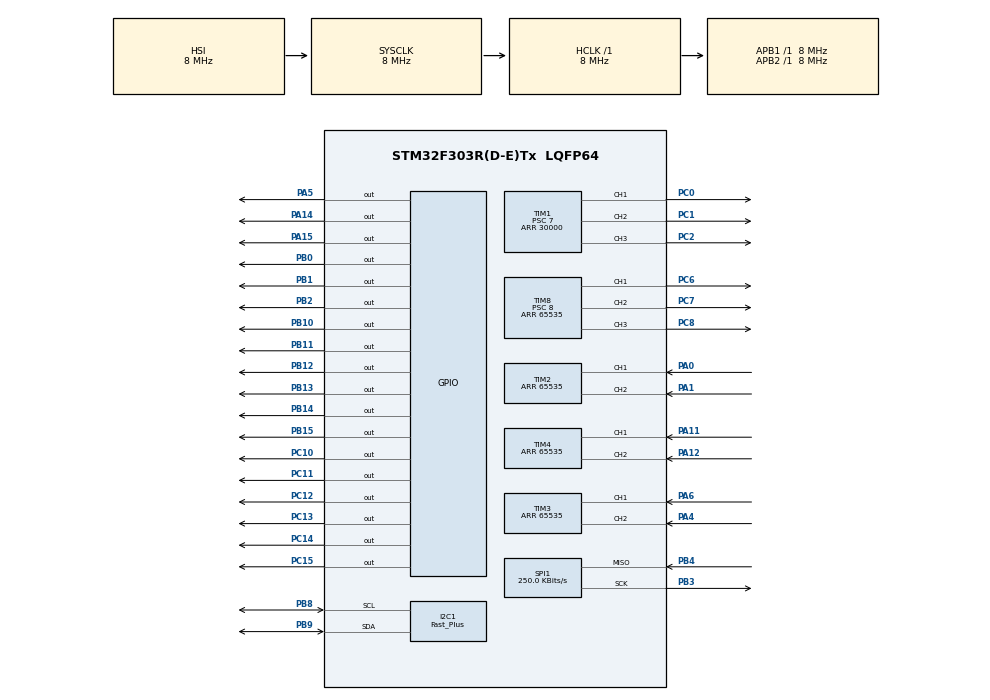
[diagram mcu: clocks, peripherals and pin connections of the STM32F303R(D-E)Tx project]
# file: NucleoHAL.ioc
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I2C1.DualAddressMode=I2C_DUALADDRESS_ENABLE
I2C1.I2C_Speed_Mode=I2C_Fast_Plus
I2C1.OwnAddress=16
I2C1.OwnAddress2=GREEN
I2C1.OwnAddress2Masks=I2C_OA2_MASK04
I2C1.Timing=0x00000001
Mcu.Family=STM32F3
Mcu.Name=STM32F303R(D-E)Tx
Mcu.Package=LQFP64
Mcu.UserConstants=RED,16;ORANGE,32;YELLOW,48;GREEN,16;BLUE,32;PURPLE,48
NVIC.I2C1_ER_IRQn=true\:0\:0\:false\:false\:true\:true\:true
NVIC.I2C1_EV_IRQn=true\:0\:0\:false\:false\:true\:true\:true
NVIC.PriorityGroup=NVIC_PRIORITYGROUP_4
NVIC.TIM6_DAC_IRQn=true\:1\:0\:true\:false\:true\:true\:true
PA0.Signal=S_TIM2_CH1_ETR
PA1.Signal=S_TIM2_CH2
PA11.Signal=S_TIM4_CH1
PA12.Signal=S_TIM4_CH2
PA14.Signal=GPIO_Output
PA15.Signal=GPIO_Output
PA4.Signal=S_TIM3_CH2
PA5.Signal=GPIO_Output
PA6.Signal=S_TIM3_CH1
PB0.Signal=GPIO_Output
PB1.Signal=GPIO_Output
PB10.Signal=GPIO_Output
PB11.Signal=GPIO_Output
PB12.Signal=GPIO_Output
PB13.Signal=GPIO_Output
PB14.Signal=GPIO_Output
PB15.Signal=GPIO_Output
PB2.Signal=GPIO_Output
PB3.Mode=RX_Only_Simplex_Unidirect_Master
PB3.Signal=SPI1_SCK
PB4.Mode=RX_Only_Simplex_Unidirect_Master
PB4.Signal=SPI1_MISO
PB8.Mode=I2C
PB8.Signal=I2C1_SCL
PB9.Mode=I2C
PB9.Signal=I2C1_SDA
PC0.Signal=S_TIM1_CH1
PC1.Signal=S_TIM1_CH2
PC10.Signal=GPIO_Output
PC11.Signal=GPIO_Output
PC12.Signal=GPIO_Output
PC13.Signal=GPIO_Output
PC14-OSC32_IN.Signal=GPIO_Output
PC15-OSC32_OUT.Signal=GPIO_Output
PC2.Signal=S_TIM1_CH3
PC6.Signal=S_TIM8_CH1
PC7.Signal=S_TIM8_CH2
PC8.Signal=S_TIM8_CH3
ProjectManager.HeapSize=0x200
ProjectManager.StackSize=0x400
ProjectManager.TargetToolchain=STM32CubeIDE
RCC.AHBFreq_Value=8000000
RCC.APB1Freq_Value=8000000
RCC.APB2Freq_Value=8000000
RCC.CortexFreq_Value=8000000
RCC.HSE_VALUE=8000000
RCC.HSI_VALUE=8000000
RCC.LSE_VALUE=32768
RCC.SYSCLKFreq_VALUE=8000000
RCC.USBFreq_Value=16000000
SH.S_TIM1_CH1.0=TIM1_CH1,PWM Generation1 CH1
SH.S_TIM1_CH2.0=TIM1_CH2,PWM Generation2 CH2
SH.S_TIM1_CH3.0=TIM1_CH3,PWM Generation3 CH3
SH.S_TIM2_CH1_ETR.0=TIM2_CH1,Encoder_Interface
SH.S_TIM2_CH2.0=TIM2_CH2,Encoder_Interface
SH.S_TIM3_CH1.0=TIM3_CH1,Encoder_Interface
SH.S_TIM3_CH2.0=TIM3_CH2,Encoder_Interface
SH.S_TIM4_CH1.0=TIM4_CH1,Encoder_Interface
SH.S_TIM4_CH2.0=TIM4_CH2,Encoder_Interface
SH.S_TIM8_CH1.0=TIM8_CH1,PWM Generation1 CH1
SH.S_TIM8_CH2.0=TIM8_CH2,PWM Generation2 CH2
SH.S_TIM8_CH3.0=TIM8_CH3,PWM Generation3 CH3
SPI1.BaudRatePrescaler=SPI_BAUDRATEPRESCALER_32
SPI1.CLKPhase=SPI_PHASE_2EDGE
SPI1.CLKPolarity=SPI_POLARITY_HIGH
SPI1.CalculateBaudRate=250.0 KBits/s
SPI1.DataSize=SPI_DATASIZE_16BIT
SPI1.Direction=SPI_DIRECTION_2LINES_RXONLY
SPI1.Mode=SPI_MODE_MASTER
SPI1.VirtualType=VM_MASTER
TIM1.Channel-Forced\ Output1\ CH1N=TIM_CHANNEL_1
TIM1.Channel-PWM\ Generation1\ CH1=TIM_CHANNEL_1
TIM1.Channel-PWM\ Generation2\ CH2=TIM_CHANNEL_2
TIM1.Channel-PWM\ Generation3\ CH3=TIM_CHANNEL_3
TIM1.Period=30000
TIM1.Prescaler=7
TIM2.EncoderMode=TIM_ENCODERMODE_TI12
TIM2.IC1Filter=10
TIM2.IC2Filter=10
TIM2.Period=65535
TIM3.EncoderMode=TIM_ENCODERMODE_TI12
TIM3.IC1Filter=10
TIM3.IC2Filter=10
TIM3.Period=65535
TIM4.EncoderMode=TIM_ENCODERMODE_TI12
TIM4.IC1Filter=0
TIM4.IC2Filter=0
TIM4.Period=65535
TIM6.Period=1000
TIM6.Prescaler=7
TIM8.Channel-PWM\ Generation1\ CH1=TIM_CHANNEL_1
TIM8.Channel-PWM\ Generation2\ CH2=TIM_CHANNEL_2
TIM8.Channel-PWM\ Generation3\ CH3=TIM_CHANNEL_3
TIM8.Period=65535
TIM8.Prescaler=8
VP_TIM1_VS_ClockSourceINT.Mode=Internal
VP_TIM6_VS_ClockSourceINT.Mode=Enable_Timer
VP_TIM8_VS_ClockSourceINT.Mode=Internal
board=custom

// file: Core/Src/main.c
/* USER CODE BEGIN Header */
/**
  ******************************************************************************
  * @file           : main.c
  * @brief          : Main program body
  ******************************************************************************
  * @attention
  *
  * <h2><center>&copy; Copyright (c) 2019 STMicroelectronics.
  * All rights reserved.</center></h2>
  *
  * This software component is licensed by ST under BSD 3-Clause license,
  * the "License"; You may not use this file except in compliance with the
  * License. You may obtain a copy of the License at:
  *                        opensource.org/licenses/BSD-3-Clause
  *
  ******************************************************************************
  */
/* USER CODE END Header */

#include "main.h"

/* USER CODE BEGIN Includes */
#include <string.h>
/* USER CODE END Includes */

/* USER CODE BEGIN PTD */

typedef struct {
	enum {OPEN=0x10, OPEN_PLUS=0x1F, CLOSED=0x20, CLOSED_PLUS=0x2F, CONFIG_PWM=0x30, CONFIG_K=0x3F, QUAD=0x40, ADJUST=0x4F, SPI=0x50, /*LIMIT=0x60,*/ UNKNOWN=0xFF} operation;
	uint8_t channel;
	uint8_t buffer[32];
	uint16_t tick;
} I2CBus;

typedef struct{
	//REGISTERS
	uint8_t controlMode;
	int8_t dir;
	uint16_t openSetpoint;
	int32_t closedSetpoint;
	float FF;
	float KP;
	float KI;
	float KD;

	//uint8_t limit;
	uint16_t spiEnc;
	int32_t quadEnc;

	uint8_t pwmEnable;
	enum uint8_t {SIGN_MAGNITUDE=0x00, LOCK_ANTIPHASE=0x0F}pwmMode;
	uint16_t pwmMin;
	uint16_t pwmMax;
	uint16_t pwmPeriod;

	//INTERNAL
	uint16_t pwmOutput;
	uint16_t quadEncRawNow;
	uint16_t quadEncRawLast;
	float integratedError;
	float lastError;

} Channel;

/* USER CODE END PTD */

/* USER CODE BEGIN PD */

#define DT 0.001
#define THRESHOLD 0.1
//#define ENABLED 0xFF

//#define OPEN 0x00
//#define CLOSED 0xFF

const I2CBus i2cBusDefault = {
	UNKNOWN, //operation
	0xFF, //channel
	{0,0,0,0,0,0,0,0,0,0,0,0,0,0,0,0,0,0,0,0,0,0,0,0,0,0,0,0,0,0,0,0}, //buffer
	0
};

const Channel channelDefault = {
	0x00, //controlMode
	0, //dir
	0, //openSetpoint
	0, //closedSetpoint
	0, //FF
	0, //KP
	0, //KI
	0, //KD
	0, //spiEnc
	0, //quadEnc
	0x00, //pwmEnable
	0x00, //pwmMode
	0, //pwmMin
	0, //pwmMax
	0, //pwmPeriod
	0, //pwmOutput
	0, //quadEncRawNow
	0, //quadEncRawLast
	0, //integratedError
	0 //lastError
};
/* USER CODE END PD */

I2C_HandleTypeDef hi2c1;

SPI_HandleTypeDef hspi1;

TIM_HandleTypeDef htim1;
TIM_HandleTypeDef htim2;
TIM_HandleTypeDef htim3;
TIM_HandleTypeDef htim4;
TIM_HandleTypeDef htim6;
TIM_HandleTypeDef htim8;

/* USER CODE BEGIN PV */
I2CBus i2cBus;

//SPIBus spiBus;

Channel channels[6];
/* USER CODE END PV */

void SystemClock_Config(void);
static void MX_GPIO_Init(void);
static void MX_TIM1_Init(void);
static void MX_TIM2_Init(void);
static void MX_TIM3_Init(void);
static void MX_TIM4_Init(void);
static void MX_I2C1_Init(void);
static void MX_SPI1_Init(void);
static void MX_TIM6_Init(void);
static void MX_TIM8_Init(void);

/* USER CODE BEGIN 0 */

//Returns SPI CS pin based on channel number
uint16_t spiPin(uint8_t channel) {
	switch(channel) {
	case 0: return GPIO_PIN_0;
	case 1: return GPIO_PIN_1;
	case 2: return GPIO_PIN_2;
	}
	return 0;
}

//Updates spiEnc register of a channel
void spiUpdate(uint8_t channel) {
	HAL_GPIO_WritePin(GPIOB, spiPin(channel), GPIO_PIN_RESET); //Pull down appropriate SPI CS
	HAL_SPI_Init(&hspi1); //Enable SPI CLK
	HAL_SPI_Receive(&hspi1,&((channels+channel)->spiEnc),1,72000); //1 16-bit receive
	HAL_SPI_DeInit(&hspi1); //Disable SPI CLK
	HAL_GPIO_WritePin(GPIOB, spiPin(channel), GPIO_PIN_SET); //Release appropriate SPI CS
}

//Returns number of i2c bytes to receive based on i2cBus.operation
uint8_t i2cNumReceive() {
	switch(i2cBus.operation) {
	case OPEN:
	case OPEN_PLUS: return 3;
	case CLOSED:
	case CLOSED_PLUS: return 8;
	case CONFIG_PWM: return 7;
	case CONFIG_K: return 12;
	case QUAD: return 0;
	case ADJUST: return 4;
	case SPI:
	//case LIMIT:
	case UNKNOWN: return 0;
	}
	return 0;
}

//Returns number of i2c bytes to send based on i2cBus.operation
uint8_t i2cNumSend() {
	switch(i2cBus.operation) {
	case OPEN: return 0;
	case OPEN_PLUS: return 4;
	case CLOSED:return 0;
	case CLOSED_PLUS: return 4;
	case CONFIG_PWM:
	case CONFIG_K: return 0;
	case QUAD: return 4;
	case ADJUST: return 0;
	case SPI: return 2;
	//case LIMIT: return 1;
	case UNKNOWN: return 0;
	}
	return 0;
}

//Prepares i2c data to send in i2cBus.buffer, using i2cBus.operation and i2cBus.channel
void i2cPrepareSend() {
	if (i2cBus.channel > 6) {return;}
	Channel *channel = channels + i2cBus.channel;
	switch(i2cBus.operation) {
	case OPEN:
		return;
	case OPEN_PLUS:
		memcpy(i2cBus.buffer, &(channel->quadEnc), 4)
		return;
	case CLOSED:
		return;
	case CLOSED_PLUS:
		memcpy(i2cBus.buffer, &(channel->quadEnc), 4);
		return;
	case CONFIG_PWM:
	case CONFIG_K:
		return;
	case QUAD:
		memcpy(i2cBus.buffer, &(channel->quadEnc), 4);
		return;
	case ADJUST:
		return;
	case SPI:
		spiUpdate(i2cBus.channel);
		memcpy(i2cBus.buffer, &(channel->spiEnc), 2);
		return;
	//case LIMIT: memcpy(i2cBus.buffer, &(channel->limit), 1); return;
	case UNKNOWN:
		return;
	}
}

//Processes i2c data received in i2cBus.buffer, using i2cBus.operation and i2cBus.channel
void i2cProcessReceive() {
	if (i2cBus.channel > 6) {return;}
	Channel *channel = channels + i2cBus.channel;
	switch(i2cBus.operation) {
	case OPEN:
	case OPEN_PLUS:
		channel->pwmEnable = 0xFF;
		channel->controlMode = 0x00;
		memcpy(&(channel->dir), i2cBus.buffer, 1);
		memcpy(&(channel->openSetpoint), i2cBus.buffer+1, 2);
		return;
	case CLOSED:
	case CLOSED_PLUS:
		channel->pwmEnable = 0xFF;
		channel->controlMode = 0xFF;
		memcpy(&(channel->FF), i2cBus.buffer, 4);
		memcpy(&(channel->closedSetpoint),i2cBus.buffer+4,4);
		return;
	case CONFIG_PWM:
		memcpy(&(channel->pwmMode),i2cBus.buffer,1);
		memcpy(&(channel->pwmMin),i2cBus.buffer+1,2);
		memcpy(&(channel->pwmMax),i2cBus.buffer+3,2);
		memcpy(&(channel->pwmPeriod),i2cBus.buffer+5,2);
		return;
	case CONFIG_K:
		memcpy(&(channel->KP),i2cBus.buffer,4);
		memcpy(&(channel->KI),i2cBus.buffer+4,4);
		memcpy(&(channel->KD),i2cBus.buffer+8,4);
		return;
	case QUAD:
		return;
	case ADJUST:
		memcpy(&(channel->quadEnc), i2cBus.buffer, 4);
	case SPI:
	//case LIMIT:
	case UNKNOWN:
		return;
	}
}

//Restarts the i2c hardware. Disables pwm signals
void i2cReset() {
	HAL_I2C_DeInit(&hi2c1);
	i2cBus.operation = UNKNOWN;
	channels[0].pwmEnable = 0x00;
	channels[1].pwmEnable = 0x00;
	channels[2].pwmEnable = 0x00;
	channels[3].pwmEnable = 0x00;
	channels[4].pwmEnable = 0x00;
	channels[5].pwmEnable = 0x00;
	HAL_I2C_Init(&hi2c1);
	HAL_I2C_EnableListen_IT(&hi2c1);
}

//Calls i2cReset() when i2cBus.tick goes over 1000
void updateI2C() {
	i2cBus.tick += 1;
	if (i2cBus.tick >= 1000) {
		i2cBus.tick = 0;
		i2cReset();
	}
}

//Updates channel.quadEnc for channels 0, 1, 2
void updateQuadEnc() {
	channels[0].quadEncRawNow = TIM2->CNT;
	channels[1].quadEncRawNow = TIM3->CNT;
	channels[2].quadEncRawNow = TIM4->CNT;

	for (int i = 0; i < 3; i++){
		Channel *channel = channels + i;
		int32_t diff = ((int32_t)channel->quadEncRawNow) - ((int32_t)channel->quadEncRawLast);
		if (diff < -32768) { //OVERFLOW
			channel->quadEnc += (65535 + diff);
		}
		else if (diff > 32768){ //UNDERFLOW
			channel->quadEnc -= (65535 - diff);
		}
		else { //NORMAL
			channel->quadEnc += diff;
		}
		channel->quadEncRawLast = channel->quadEncRawNow;
	}
}

//Updates channel.limit for all channels
/*void updateLimit() {
	channels[0].limit = (HAL_GPIO_ReadPin(GPIOA, GPIO_PIN_2) == GPIO_PIN_RESET) ? 0xFF : 0x00;
	channels[1].limit = (HAL_GPIO_ReadPin(GPIOA, GPIO_PIN_3) == GPIO_PIN_RESET) ? 0xFF : 0x00;
	channels[2].limit = (HAL_GPIO_ReadPin(GPIOA, GPIO_PIN_7) == GPIO_PIN_RESET) ? 0xFF : 0x00;
	channels[3].limit = (HAL_GPIO_ReadPin(GPIOA, GPIO_PIN_8) == GPIO_PIN_RESET) ? 0xFF : 0x00;
	channels[4].limit = (HAL_GPIO_ReadPin(GPIOA, GPIO_PIN_9) == GPIO_PIN_RESET) ? 0xFF : 0x00;
	channels[5].limit = (HAL_GPIO_ReadPin(GPIOA, GPIO_PIN_10) == GPIO_PIN_RESET) ? 0xFF : 0x00;
}*/

//Updates channel.pwmOutput for all channels
void updateLogic() {
	for (uint8_t i = 0; i < 6; i++){
		Channel *channel = channels + i;
		float output;

		if (channel->controlMode == 0xFF){ //CLOSED LOOP
			float error = (float)(channel->closedSetpoint - channel->quadEnc);
			float integratedError = channel->integratedError + (error * DT);
			float derivativeError = (error - channel->lastError) / DT;

			channel->integratedError = integratedError;
			channel->lastError = error;

			output = ((channel->KP * error) + (channel->KI * integratedError) + (channel->KD * derivativeError) + channel->FF);
			output = output < 1.0 ? output : 1.0;
			output = output > -1.0 ? output : -1.0;

			if (channel->pwmMode == SIGN_MAGNITUDE){ //SIGN MAGNITUDE
				if (output > THRESHOLD) {
					channel->pwmOutput = (uint16_t)(((channel->pwmMax - channel->pwmMin) * (output)) + channel->pwmMin);
					channel->dir = 0x00;
				}
				else if (output < -THRESHOLD){
					channel->pwmOutput = (uint16_t)(((channel->pwmMax - channel->pwmMin) * (-1.0 * output)) + channel->pwmMin);
					channel->dir = 0xFF;
				}
				else { //OUTPUT NOT ABOVE THRESHOLD
					channel->pwmOutput = 0;
				}
			}
			else if (channel->pwmMode == LOCK_ANTIPHASE) { //LOCK ANTIPHASE
				if (output > THRESHOLD  || output < -THRESHOLD) {
					channel->pwmOutput = (uint16_t)(((channel->pwmMax - channel->pwmMin) * ((output + 1.0) / 2.0)) + channel->pwmMin);
				}
				else { //OUTPUT NOT ABOVE THRESHOLD
					channel->pwmOutput = (uint16_t)(((channel->pwmMax - channel->pwmMin) * 0.5) + channel->pwmMin);
				}
			}
		}
		else { //OPEN LOOP
			channel->pwmOutput = channel->openSetpoint;
		}

	}
}

//Updates the pwm interface CCR and ARR based on pwmPeriod and pwmOutput for all channels
//Updates the GPIO dir pin base on dir for all channels
void updatePWM() {
	for (uint8_t i = 0; i < 6; i++) {
		Channel *channel = channels + i;
		if (/*channel->limit == 0xFF ||*/ channel->pwmEnable != 0xFF){
			channel->pwmOutput = 0;
		}
	}

	uint16_t period;

	period = 0;
	period = (period > channels[0].pwmPeriod) ? period : channels[0].pwmPeriod;
	period = (period > channels[1].pwmPeriod) ? period : channels[1].pwmPeriod;
	period = (period > channels[2].pwmPeriod) ? period : channels[2].pwmPeriod;
	TIM1->ARR = period;
	period = 0;
	period = (period > channels[3].pwmPeriod) ? period : channels[3].pwmPeriod;
	period = (period > channels[4].pwmPeriod) ? period : channels[4].pwmPeriod;
	period = (period > channels[5].pwmPeriod) ? period : channels[5].pwmPeriod;
	TIM8->ARR = period;

	TIM1->CCR1 = channels[0].pwmOutput;
	TIM1->CCR2 = channels[1].pwmOutput;
	TIM1->CCR3 = channels[2].pwmOutput;
	TIM8->CCR1 = channels[3].pwmOutput;
	TIM8->CCR2 = channels[4].pwmOutput;
	TIM8->CCR3 = channels[5].pwmOutput;

	HAL_GPIO_WritePin(GPIOC, GPIO_PIN_10, channels[0].dir);
	HAL_GPIO_WritePin(GPIOC, GPIO_PIN_11, channels[1].dir);
	HAL_GPIO_WritePin(GPIOC, GPIO_PIN_12, channels[2].dir);
	HAL_GPIO_WritePin(GPIOC, GPIO_PIN_13, channels[3].dir);
	HAL_GPIO_WritePin(GPIOC, GPIO_PIN_14, channels[4].dir);
	HAL_GPIO_WritePin(GPIOC, GPIO_PIN_15, channels[5].dir);

	HAL_GPIO_WritePin(GPIOB, GPIO_PIN_10, !channels[0].dir);
	HAL_GPIO_WritePin(GPIOB, GPIO_PIN_11, !channels[1].dir);
	HAL_GPIO_WritePin(GPIOB, GPIO_PIN_12, !channels[2].dir);
	HAL_GPIO_WritePin(GPIOB, GPIO_PIN_13, !channels[3].dir);
	HAL_GPIO_WritePin(GPIOB, GPIO_PIN_14, !channels[4].dir);
	HAL_GPIO_WritePin(GPIOB, GPIO_PIN_15, !channels[5].dir);
}

//Callback when i2c address of any channel is noticed
void HAL_I2C_AddrCallback(I2C_HandleTypeDef * hi2c, uint8_t TransferDirection, uint16_t AddrMatchCode){
	i2cBus.channel = (0x000F & (AddrMatchCode >> 1));
	if (TransferDirection == I2C_DIRECTION_TRANSMIT){
		HAL_I2C_Slave_Seq_Receive_IT(&hi2c1, i2cBus.buffer, 1, I2C_LAST_FRAME); //Receive command byte
		i2cBus.operation = UNKNOWN;
	}
	else { //Send data based on command byte
		i2cPrepareSend();
		if (i2cNumSend() != 0) {
			HAL_I2C_Slave_Seq_Transmit_IT(&hi2c1, i2cBus.buffer, i2cNumSend(), I2C_LAST_FRAME);
		}
	}
	i2cBus.tick = 0; //Reset i2cBus.tick
}

//Callback when i2c receive is complete
void HAL_I2C_SlaveRxCpltCallback(I2C_HandleTypeDef * hi2c) {
	if (i2cBus.operation == UNKNOWN) {//Expected a command byte
		i2cBus.operation = i2cBus.buffer[0];
		if (i2cNumReceive() != 0) {//Receive data bytes
			HAL_I2C_Slave_Seq_Receive_IT(&hi2c1, i2cBus.buffer, i2cNumReceive(), I2C_LAST_FRAME);
		}
		else {//Don't receive data bytes
			i2cProcessReceive();
		}
	}
	else {//Expected data bytes
		i2cProcessReceive();
	}
}

//Callback when i2c transaction is complete
void HAL_I2C_ListenCpltCallback(I2C_HandleTypeDef * hi2c) {
	HAL_I2C_EnableListen_IT(&hi2c1);
}

//Callback when i2c interface detects an error
void HAL_I2C_ErrorCallback(I2C_HandleTypeDef * hi2c){
	i2cReset();
}

//Timer to trigger other functions
void HAL_TIM_PeriodElapsedCallback(TIM_HandleTypeDef * htim){
	if (htim == &htim6) {
		HAL_GPIO_WritePin(GPIOA, GPIO_PIN_5, GPIO_PIN_SET);
		updateQuadEnc();
		//updateLimit();
		updateLogic();
		updatePWM();
		updateI2C();
		HAL_GPIO_WritePin(GPIOA, GPIO_PIN_5, GPIO_PIN_RESET);
	}
}

/* USER CODE END 0 */

int main(void)
{

  /* MCU Configuration--------------------------------------------------------*/

  /* Reset of all peripherals, Initializes the Flash interface and the Systick. */
  HAL_Init();

  /* USER CODE BEGIN Init */
  channels[0] = channelDefault;
  channels[1] = channelDefault;
  channels[2] = channelDefault;
  channels[3] = channelDefault;
  channels[4] = channelDefault;
  channels[5] = channelDefault;

  i2cBus = i2cBusDefault;
  /* USER CODE END Init */

  /* Configure the system clock */
  SystemClock_Config();

  /* Initialize all configured peripherals */
  MX_GPIO_Init();
  MX_TIM1_Init();
  MX_TIM2_Init();
  MX_TIM3_Init();
  MX_TIM4_Init();
  MX_I2C1_Init();
  MX_SPI1_Init();
  MX_TIM6_Init();
  MX_TIM8_Init();
  /* USER CODE BEGIN 2 */

  HAL_SPI_DeInit(&hspi1);

  HAL_I2C_EnableListen_IT(&hi2c1);

  HAL_TIM_PWM_Start(&htim1, TIM_CHANNEL_1);
  HAL_TIM_PWM_Start(&htim1, TIM_CHANNEL_2);
  HAL_TIM_PWM_Start(&htim1, TIM_CHANNEL_3);
  HAL_TIM_PWM_Start(&htim8, TIM_CHANNEL_1);
  HAL_TIM_PWM_Start(&htim8, TIM_CHANNEL_2);
  HAL_TIM_PWM_Start(&htim8, TIM_CHANNEL_3);
  HAL_TIM_Encoder_Start(&htim2, TIM_CHANNEL_ALL);
  HAL_TIM_Encoder_Start(&htim3, TIM_CHANNEL_ALL);
  HAL_TIM_Encoder_Start(&htim4, TIM_CHANNEL_ALL);

  HAL_TIM_Base_Start_IT(&htim6);

  /* USER CODE END 2 */

  /* Infinite loop */
  /* USER CODE BEGIN WHILE */
  while (1)
  {
	  //HAL_Delay(1000);
    /* USER CODE END WHILE */

  }
}

void SystemClock_Config(void)
{
  RCC_OscInitTypeDef RCC_OscInitStruct = {0};
  RCC_ClkInitTypeDef RCC_ClkInitStruct = {0};
  RCC_PeriphCLKInitTypeDef PeriphClkInit = {0};

  /** Initializes the CPU, AHB and APB busses clocks
  */
  RCC_OscInitStruct.OscillatorType = RCC_OSCILLATORTYPE_HSI;
  RCC_OscInitStruct.HSIState = RCC_HSI_ON;
  RCC_OscInitStruct.HSICalibrationValue = RCC_HSICALIBRATION_DEFAULT;
  RCC_OscInitStruct.PLL.PLLState = RCC_PLL_NONE;
  if (HAL_RCC_OscConfig(&RCC_OscInitStruct) != HAL_OK)
  {
    Error_Handler();
  }
  /** Initializes the CPU, AHB and APB busses clocks
  */
  RCC_ClkInitStruct.ClockType = RCC_CLOCKTYPE_HCLK|RCC_CLOCKTYPE_SYSCLK
                              |RCC_CLOCKTYPE_PCLK1|RCC_CLOCKTYPE_PCLK2;
  RCC_ClkInitStruct.SYSCLKSource = RCC_SYSCLKSOURCE_HSI;
  RCC_ClkInitStruct.AHBCLKDivider = RCC_SYSCLK_DIV1;
  RCC_ClkInitStruct.APB1CLKDivider = RCC_HCLK_DIV1;
  RCC_ClkInitStruct.APB2CLKDivider = RCC_HCLK_DIV1;

  if (HAL_RCC_ClockConfig(&RCC_ClkInitStruct, FLASH_LATENCY_0) != HAL_OK)
  {
    Error_Handler();
  }
  PeriphClkInit.PeriphClockSelection = RCC_PERIPHCLK_I2C1|RCC_PERIPHCLK_TIM1
                              |RCC_PERIPHCLK_TIM8|RCC_PERIPHCLK_TIM2
                              |RCC_PERIPHCLK_TIM34;
  PeriphClkInit.I2c1ClockSelection = RCC_I2C1CLKSOURCE_HSI;
  PeriphClkInit.Tim1ClockSelection = RCC_TIM1CLK_HCLK;
  PeriphClkInit.Tim8ClockSelection = RCC_TIM8CLK_HCLK;
  PeriphClkInit.Tim2ClockSelection = RCC_TIM2CLK_HCLK;
  PeriphClkInit.Tim34ClockSelection = RCC_TIM34CLK_HCLK;
  if (HAL_RCCEx_PeriphCLKConfig(&PeriphClkInit) != HAL_OK)
  {
    Error_Handler();
  }
}

static void MX_I2C1_Init(void)
{

  hi2c1.Instance = I2C1;
  hi2c1.Init.Timing = 0x00000001;
  hi2c1.Init.OwnAddress1 = 32;
  hi2c1.Init.AddressingMode = I2C_ADDRESSINGMODE_7BIT;
  hi2c1.Init.DualAddressMode = I2C_DUALADDRESS_ENABLE;
  hi2c1.Init.OwnAddress2 = 32;
  hi2c1.Init.OwnAddress2Masks = I2C_OA2_MASK04;
  hi2c1.Init.GeneralCallMode = I2C_GENERALCALL_DISABLE;
  hi2c1.Init.NoStretchMode = I2C_NOSTRETCH_DISABLE;
  if (HAL_I2C_Init(&hi2c1) != HAL_OK)
  {
    Error_Handler();
  }
  /** Configure Analogue filter
  */
  if (HAL_I2CEx_ConfigAnalogFilter(&hi2c1, I2C_ANALOGFILTER_ENABLE) != HAL_OK)
  {
    Error_Handler();
  }
  /** Configure Digital filter
  */
  if (HAL_I2CEx_ConfigDigitalFilter(&hi2c1, 0) != HAL_OK)
  {
    Error_Handler();
  }
  /** I2C Fast mode Plus enable
  */
  __HAL_SYSCFG_FASTMODEPLUS_ENABLE(I2C_FASTMODEPLUS_I2C1);

}

static void MX_SPI1_Init(void)
{

  /* SPI1 parameter configuration*/
  hspi1.Instance = SPI1;
  hspi1.Init.Mode = SPI_MODE_MASTER;
  hspi1.Init.Direction = SPI_DIRECTION_2LINES_RXONLY;
  hspi1.Init.DataSize = SPI_DATASIZE_16BIT;
  hspi1.Init.CLKPolarity = SPI_POLARITY_HIGH;
  hspi1.Init.CLKPhase = SPI_PHASE_2EDGE;
  hspi1.Init.NSS = SPI_NSS_SOFT;
  hspi1.Init.BaudRatePrescaler = SPI_BAUDRATEPRESCALER_32;
  hspi1.Init.FirstBit = SPI_FIRSTBIT_MSB;
  hspi1.Init.TIMode = SPI_TIMODE_DISABLE;
  hspi1.Init.CRCCalculation = SPI_CRCCALCULATION_DISABLE;
  hspi1.Init.CRCPolynomial = 7;
  hspi1.Init.CRCLength = SPI_CRC_LENGTH_DATASIZE;
  hspi1.Init.NSSPMode = SPI_NSS_PULSE_DISABLE;
  if (HAL_SPI_Init(&hspi1) != HAL_OK)
  {
    Error_Handler();
  }

}

static void MX_TIM1_Init(void)
{

  TIM_ClockConfigTypeDef sClockSourceConfig = {0};
  TIM_MasterConfigTypeDef sMasterConfig = {0};
  TIM_OC_InitTypeDef sConfigOC = {0};
  TIM_BreakDeadTimeConfigTypeDef sBreakDeadTimeConfig = {0};

  htim1.Instance = TIM1;
  htim1.Init.Prescaler = 7;
  htim1.Init.CounterMode = TIM_COUNTERMODE_UP;
  htim1.Init.Period = 30000;
  htim1.Init.ClockDivision = TIM_CLOCKDIVISION_DIV1;
  htim1.Init.RepetitionCounter = 0;
  htim1.Init.AutoReloadPreload = TIM_AUTORELOAD_PRELOAD_DISABLE;
  if (HAL_TIM_Base_Init(&htim1) != HAL_OK)
  {
    Error_Handler();
  }
  sClockSourceConfig.ClockSource = TIM_CLOCKSOURCE_INTERNAL;
  if (HAL_TIM_ConfigClockSource(&htim1, &sClockSourceConfig) != HAL_OK)
  {
    Error_Handler();
  }
  if (HAL_TIM_PWM_Init(&htim1) != HAL_OK)
  {
    Error_Handler();
  }
  sMasterConfig.MasterOutputTrigger = TIM_TRGO_RESET;
  sMasterConfig.MasterOutputTrigger2 = TIM_TRGO2_RESET;
  sMasterConfig.MasterSlaveMode = TIM_MASTERSLAVEMODE_DISABLE;
  if (HAL_TIMEx_MasterConfigSynchronization(&htim1, &sMasterConfig) != HAL_OK)
  {
    Error_Handler();
  }
  sConfigOC.OCMode = TIM_OCMODE_PWM1;
  sConfigOC.Pulse = 0;
  sConfigOC.OCPolarity = TIM_OCPOLARITY_HIGH;
  sConfigOC.OCNPolarity = TIM_OCNPOLARITY_HIGH;
  sConfigOC.OCFastMode = TIM_OCFAST_DISABLE;
  sConfigOC.OCIdleState = TIM_OCIDLESTATE_RESET;
  sConfigOC.OCNIdleState = TIM_OCNIDLESTATE_RESET;
  if (HAL_TIM_PWM_ConfigChannel(&htim1, &sConfigOC, TIM_CHANNEL_1) != HAL_OK)
  {
    Error_Handler();
  }
  if (HAL_TIM_PWM_ConfigChannel(&htim1, &sConfigOC, TIM_CHANNEL_2) != HAL_OK)
  {
    Error_Handler();
  }
  if (HAL_TIM_PWM_ConfigChannel(&htim1, &sConfigOC, TIM_CHANNEL_3) != HAL_OK)
  {
    Error_Handler();
  }
  sBreakDeadTimeConfig.OffStateRunMode = TIM_OSSR_DISABLE;
  sBreakDeadTimeConfig.OffStateIDLEMode = TIM_OSSI_DISABLE;
  sBreakDeadTimeConfig.LockLevel = TIM_LOCKLEVEL_OFF;
  sBreakDeadTimeConfig.DeadTime = 0;
  sBreakDeadTimeConfig.BreakState = TIM_BREAK_DISABLE;
  sBreakDeadTimeConfig.BreakPolarity = TIM_BREAKPOLARITY_HIGH;
  sBreakDeadTimeConfig.BreakFilter = 0;
  sBreakDeadTimeConfig.Break2State = TIM_BREAK2_DISABLE;
  sBreakDeadTimeConfig.Break2Polarity = TIM_BREAK2POLARITY_HIGH;
  sBreakDeadTimeConfig.Break2Filter = 0;
  sBreakDeadTimeConfig.AutomaticOutput = TIM_AUTOMATICOUTPUT_DISABLE;
  if (HAL_TIMEx_ConfigBreakDeadTime(&htim1, &sBreakDeadTimeConfig) != HAL_OK)
  {
    Error_Handler();
  }
  HAL_TIM_MspPostInit(&htim1);

}

static void MX_TIM2_Init(void)
{

  TIM_Encoder_InitTypeDef sConfig = {0};
  TIM_MasterConfigTypeDef sMasterConfig = {0};

  htim2.Instance = TIM2;
  htim2.Init.Prescaler = 0;
  htim2.Init.CounterMode = TIM_COUNTERMODE_UP;
  htim2.Init.Period = 65535;
  htim2.Init.ClockDivision = TIM_CLOCKDIVISION_DIV1;
  htim2.Init.AutoReloadPreload = TIM_AUTORELOAD_PRELOAD_DISABLE;
  sConfig.EncoderMode = TIM_ENCODERMODE_TI12;
  sConfig.IC1Polarity = TIM_ICPOLARITY_RISING;
  sConfig.IC1Selection = TIM_ICSELECTION_DIRECTTI;
  sConfig.IC1Prescaler = TIM_ICPSC_DIV1;
  sConfig.IC1Filter = 10;
  sConfig.IC2Polarity = TIM_ICPOLARITY_RISING;
  sConfig.IC2Selection = TIM_ICSELECTION_DIRECTTI;
  sConfig.IC2Prescaler = TIM_ICPSC_DIV1;
  sConfig.IC2Filter = 10;
  if (HAL_TIM_Encoder_Init(&htim2, &sConfig) != HAL_OK)
  {
    Error_Handler();
  }
  sMasterConfig.MasterOutputTrigger = TIM_TRGO_RESET;
  sMasterConfig.MasterSlaveMode = TIM_MASTERSLAVEMODE_DISABLE;
  if (HAL_TIMEx_MasterConfigSynchronization(&htim2, &sMasterConfig) != HAL_OK)
  {
    Error_Handler();
  }

}

static void MX_TIM3_Init(void)
{

  TIM_Encoder_InitTypeDef sConfig = {0};
  TIM_MasterConfigTypeDef sMasterConfig = {0};

  htim3.Instance = TIM3;
  htim3.Init.Prescaler = 0;
  htim3.Init.CounterMode = TIM_COUNTERMODE_UP;
  htim3.Init.Period = 65535;
  htim3.Init.ClockDivision = TIM_CLOCKDIVISION_DIV1;
  htim3.Init.AutoReloadPreload = TIM_AUTORELOAD_PRELOAD_DISABLE;
  sConfig.EncoderMode = TIM_ENCODERMODE_TI12;
  sConfig.IC1Polarity = TIM_ICPOLARITY_RISING;
  sConfig.IC1Selection = TIM_ICSELECTION_DIRECTTI;
  sConfig.IC1Prescaler = TIM_ICPSC_DIV1;
  sConfig.IC1Filter = 10;
  sConfig.IC2Polarity = TIM_ICPOLARITY_RISING;
  sConfig.IC2Selection = TIM_ICSELECTION_DIRECTTI;
  sConfig.IC2Prescaler = TIM_ICPSC_DIV1;
  sConfig.IC2Filter = 10;
  if (HAL_TIM_Encoder_Init(&htim3, &sConfig) != HAL_OK)
  {
    Error_Handler();
  }
  sMasterConfig.MasterOutputTrigger = TIM_TRGO_RESET;
  sMasterConfig.MasterSlaveMode = TIM_MASTERSLAVEMODE_DISABLE;
  if (HAL_TIMEx_MasterConfigSynchronization(&htim3, &sMasterConfig) != HAL_OK)
  {
    Error_Handler();
  }

}

static void MX_TIM4_Init(void)
{

  TIM_Encoder_InitTypeDef sConfig = {0};
  TIM_MasterConfigTypeDef sMasterConfig = {0};

  htim4.Instance = TIM4;
  htim4.Init.Prescaler = 0;
  htim4.Init.CounterMode = TIM_COUNTERMODE_UP;
  htim4.Init.Period = 65535;
  htim4.Init.ClockDivision = TIM_CLOCKDIVISION_DIV1;
  htim4.Init.AutoReloadPreload = TIM_AUTORELOAD_PRELOAD_DISABLE;
  sConfig.EncoderMode = TIM_ENCODERMODE_TI12;
  sConfig.IC1Polarity = TIM_ICPOLARITY_RISING;
  sConfig.IC1Selection = TIM_ICSELECTION_DIRECTTI;
  sConfig.IC1Prescaler = TIM_ICPSC_DIV1;
  sConfig.IC1Filter = 0;
  sConfig.IC2Polarity = TIM_ICPOLARITY_RISING;
  sConfig.IC2Selection = TIM_ICSELECTION_DIRECTTI;
  sConfig.IC2Prescaler = TIM_ICPSC_DIV1;
  sConfig.IC2Filter = 0;
  if (HAL_TIM_Encoder_Init(&htim4, &sConfig) != HAL_OK)
  {
    Error_Handler();
  }
  sMasterConfig.MasterOutputTrigger = TIM_TRGO_RESET;
  sMasterConfig.MasterSlaveMode = TIM_MASTERSLAVEMODE_DISABLE;
  if (HAL_TIMEx_MasterConfigSynchronization(&htim4, &sMasterConfig) != HAL_OK)
  {
    Error_Handler();
  }

}

static void MX_TIM6_Init(void)
{

  TIM_MasterConfigTypeDef sMasterConfig = {0};

  htim6.Instance = TIM6;
  htim6.Init.Prescaler = 7;
  htim6.Init.CounterMode = TIM_COUNTERMODE_UP;
  htim6.Init.Period = 1000;
  htim6.Init.AutoReloadPreload = TIM_AUTORELOAD_PRELOAD_DISABLE;
  if (HAL_TIM_Base_Init(&htim6) != HAL_OK)
  {
    Error_Handler();
  }
  sMasterConfig.MasterOutputTrigger = TIM_TRGO_RESET;
  sMasterConfig.MasterSlaveMode = TIM_MASTERSLAVEMODE_DISABLE;
  if (HAL_TIMEx_MasterConfigSynchronization(&htim6, &sMasterConfig) != HAL_OK)
  {
    Error_Handler();
  }

}

static void MX_TIM8_Init(void)
{

  TIM_ClockConfigTypeDef sClockSourceConfig = {0};
  TIM_MasterConfigTypeDef sMasterConfig = {0};
  TIM_OC_InitTypeDef sConfigOC = {0};
  TIM_BreakDeadTimeConfigTypeDef sBreakDeadTimeConfig = {0};

  htim8.Instance = TIM8;
  htim8.Init.Prescaler = 8;
  htim8.Init.CounterMode = TIM_COUNTERMODE_UP;
  htim8.Init.Period = 65535;
  htim8.Init.ClockDivision = TIM_CLOCKDIVISION_DIV1;
  htim8.Init.RepetitionCounter = 0;
  htim8.Init.AutoReloadPreload = TIM_AUTORELOAD_PRELOAD_DISABLE;
  if (HAL_TIM_Base_Init(&htim8) != HAL_OK)
  {
    Error_Handler();
  }
  sClockSourceConfig.ClockSource = TIM_CLOCKSOURCE_INTERNAL;
  if (HAL_TIM_ConfigClockSource(&htim8, &sClockSourceConfig) != HAL_OK)
  {
    Error_Handler();
  }
  if (HAL_TIM_PWM_Init(&htim8) != HAL_OK)
  {
    Error_Handler();
  }
  sMasterConfig.MasterOutputTrigger = TIM_TRGO_RESET;
  sMasterConfig.MasterOutputTrigger2 = TIM_TRGO2_RESET;
  sMasterConfig.MasterSlaveMode = TIM_MASTERSLAVEMODE_DISABLE;
  if (HAL_TIMEx_MasterConfigSynchronization(&htim8, &sMasterConfig) != HAL_OK)
  {
    Error_Handler();
  }
  sConfigOC.OCMode = TIM_OCMODE_PWM1;
  sConfigOC.Pulse = 0;
  sConfigOC.OCPolarity = TIM_OCPOLARITY_HIGH;
  sConfigOC.OCNPolarity = TIM_OCNPOLARITY_HIGH;
  sConfigOC.OCFastMode = TIM_OCFAST_DISABLE;
  sConfigOC.OCIdleState = TIM_OCIDLESTATE_RESET;
  sConfigOC.OCNIdleState = TIM_OCNIDLESTATE_RESET;
  if (HAL_TIM_PWM_ConfigChannel(&htim8, &sConfigOC, TIM_CHANNEL_1) != HAL_OK)
  {
    Error_Handler();
  }
  if (HAL_TIM_PWM_ConfigChannel(&htim8, &sConfigOC, TIM_CHANNEL_2) != HAL_OK)
  {
    Error_Handler();
  }
  if (HAL_TIM_PWM_ConfigChannel(&htim8, &sConfigOC, TIM_CHANNEL_3) != HAL_OK)
  {
    Error_Handler();
  }
  sBreakDeadTimeConfig.OffStateRunMode = TIM_OSSR_DISABLE;
  sBreakDeadTimeConfig.OffStateIDLEMode = TIM_OSSI_DISABLE;
  sBreakDeadTimeConfig.LockLevel = TIM_LOCKLEVEL_OFF;
  sBreakDeadTimeConfig.DeadTime = 0;
  sBreakDeadTimeConfig.BreakState = TIM_BREAK_DISABLE;
  sBreakDeadTimeConfig.BreakPolarity = TIM_BREAKPOLARITY_HIGH;
  sBreakDeadTimeConfig.BreakFilter = 0;
  sBreakDeadTimeConfig.Break2State = TIM_BREAK2_DISABLE;
  sBreakDeadTimeConfig.Break2Polarity = TIM_BREAK2POLARITY_HIGH;
  sBreakDeadTimeConfig.Break2Filter = 0;
  sBreakDeadTimeConfig.AutomaticOutput = TIM_AUTOMATICOUTPUT_DISABLE;
  if (HAL_TIMEx_ConfigBreakDeadTime(&htim8, &sBreakDeadTimeConfig) != HAL_OK)
  {
    Error_Handler();
  }
  HAL_TIM_MspPostInit(&htim8);

}

static void MX_GPIO_Init(void)
{
  GPIO_InitTypeDef GPIO_InitStruct = {0};

  /* GPIO Ports Clock Enable */
  __HAL_RCC_GPIOC_CLK_ENABLE();
  __HAL_RCC_GPIOA_CLK_ENABLE();
  __HAL_RCC_GPIOB_CLK_ENABLE();

  /*Configure GPIO pin Output Level */
  HAL_GPIO_WritePin(GPIOC, GPIO_PIN_13|GPIO_PIN_14|GPIO_PIN_15|GPIO_PIN_10
                          |GPIO_PIN_11|GPIO_PIN_12, GPIO_PIN_RESET);

  /*Configure GPIO pin Output Level */
  HAL_GPIO_WritePin(GPIOA, GPIO_PIN_5|GPIO_PIN_14|GPIO_PIN_15, GPIO_PIN_RESET);

  /*Configure GPIO pin Output Level */
  HAL_GPIO_WritePin(GPIOB, GPIO_PIN_0|GPIO_PIN_1|GPIO_PIN_2|GPIO_PIN_10
                          |GPIO_PIN_11|GPIO_PIN_12|GPIO_PIN_13|GPIO_PIN_14
                          |GPIO_PIN_15, GPIO_PIN_RESET);

  /*Configure GPIO pins : PC13 PC14 PC15 PC10
                           PC11 PC12 */
  GPIO_InitStruct.Pin = GPIO_PIN_13|GPIO_PIN_14|GPIO_PIN_15|GPIO_PIN_10
                          |GPIO_PIN_11|GPIO_PIN_12;
  GPIO_InitStruct.Mode = GPIO_MODE_OUTPUT_PP;
  GPIO_InitStruct.Pull = GPIO_NOPULL;
  GPIO_InitStruct.Speed = GPIO_SPEED_FREQ_LOW;
  HAL_GPIO_Init(GPIOC, &GPIO_InitStruct);

  /*Configure GPIO pins : PA5 PA14 PA15 */
  GPIO_InitStruct.Pin = GPIO_PIN_5|GPIO_PIN_14|GPIO_PIN_15;
  GPIO_InitStruct.Mode = GPIO_MODE_OUTPUT_PP;
  GPIO_InitStruct.Pull = GPIO_NOPULL;
  GPIO_InitStruct.Speed = GPIO_SPEED_FREQ_LOW;
  HAL_GPIO_Init(GPIOA, &GPIO_InitStruct);

  /*Configure GPIO pins : PB0 PB1 PB2 PB10
                           PB11 PB12 PB13 PB14
                           PB15 */
  GPIO_InitStruct.Pin = GPIO_PIN_0|GPIO_PIN_1|GPIO_PIN_2|GPIO_PIN_10
                          |GPIO_PIN_11|GPIO_PIN_12|GPIO_PIN_13|GPIO_PIN_14
                          |GPIO_PIN_15;
  GPIO_InitStruct.Mode = GPIO_MODE_OUTPUT_PP;
  GPIO_InitStruct.Pull = GPIO_NOPULL;
  GPIO_InitStruct.Speed = GPIO_SPEED_FREQ_LOW;
  HAL_GPIO_Init(GPIOB, &GPIO_InitStruct);

}

void Error_Handler(void)
{
}

/************************ (C) COPYRIGHT STMicroelectronics *****END OF FILE****/
